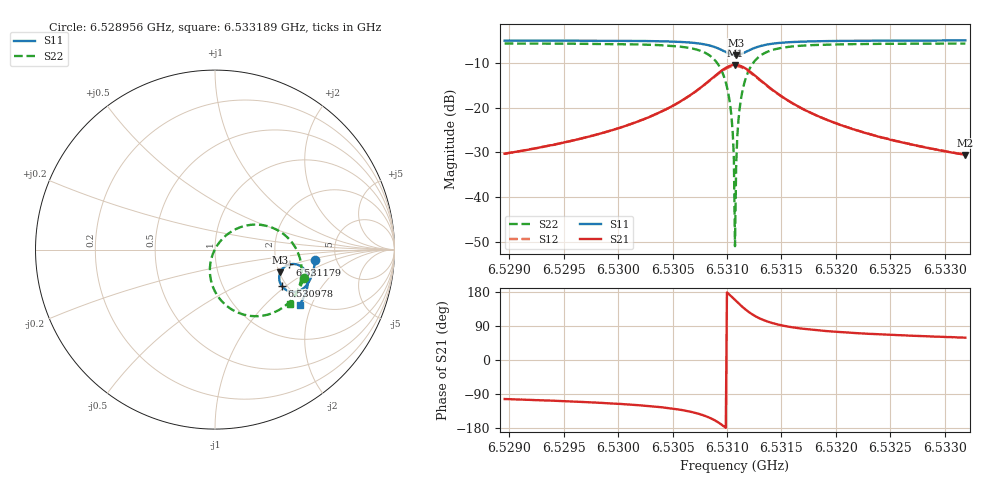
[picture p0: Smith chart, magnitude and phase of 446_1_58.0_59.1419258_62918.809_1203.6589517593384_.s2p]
#  HZ  S  RI  R  50.00
! Rohde & Schwarz Vector Network Analyzer
! Rohde-Schwarz,ZNB20-2Port,1311601062101988,3.16
! Created: UTC 3/21/2024, 1:10:15 AM
! freq[Hz]  re:S11  im:S11  re:S21  im:S21  re:S12  im:S12  re:S22  im:S22
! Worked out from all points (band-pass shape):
!   401 points, 6.528956 GHz to 6.533189 GHz, reference 50 ohm
!   highest |S21| = -10.45 dB at 6.531073 GHz (marker M1); lowest = -30.6 dB at 6.533189 GHz (marker M2)
!   |S21| within 3 dB of the highest: 6.530863 GHz to 6.531286 GHz (423 kHz wide, 0.00648 % of centre)
!   lowest |S11| = -8.3 dB at 6.531084 GHz (marker M3), VSWR 2.25, Z = 101 - j30.3 ohm
!   |S11| at or under -10 dB: nowhere
!   |S22| runs from -51.0 to -5.7 dB; largest |S21 - S12| = 0.011
!   S11 on the Smith chart (normalised r, x): 6.528956 GHz: 3.45, -0.58; 6.530978 GHz: 1.89, -0.93; 6.531179 GHz: 2.35, -0.47; 6.533189 GHz: 1.82, -1.65
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6.5289565e9  0.558 -0.0574  -0.00685 -0.0296  -0.00741 -0.0295  0.4948 -0.1602
6.5296655e9  0.5479 -0.1159  -0.016 -0.0421  -0.017 -0.0419  0.465 -0.2258
6.5303745e9  0.5198 -0.1854  -0.0488 -0.0726  -0.0508 -0.0712  0.3855 -0.3173
6.5307978e9  0.4503 -0.2344  -0.1541 -0.0981  -0.1565 -0.0921  0.183 -0.3672
6.5309036e9  0.4065 -0.2296  -0.2223 -0.0726  -0.2215 -0.0635  0.0667 -0.3147
6.5309777e9  0.3725 -0.2029  -0.2726 -0.0157  -0.2672 -0.00616  -0.0103 -0.2108
6.5310306e9  0.3584 -0.168  -0.2894 0.0505  -0.2805 0.0575  -0.0281 -0.0981
6.5310412e9  0.3577 -0.1599  -0.2893 0.0652  -0.2797 0.0715  -0.0253 -0.0737
6.5310518e9  0.3578 -0.1516  -0.2874 0.0803  -0.2775 0.0857  -0.02 -0.0492
6.5310623e9  0.3589 -0.1435  -0.2842 0.0952  -0.2739 0.0997  -0.0124 -0.0252
6.5310729e9  0.3609 -0.1353  -0.2795 0.1099  -0.2691 0.1132  -0.00203 -0.00195
6.5310835e9  0.3636 -0.1275  -0.2733 0.1238  -0.2627 0.1263  0.0102 0.0201
6.5310941e9  0.3671 -0.1199  -0.2658 0.137  -0.2554 0.1385  0.0248 0.0407
6.5311047e9  0.3716 -0.1128  -0.257 0.1495  -0.2467 0.1502  0.0411 0.0597
6.5311153e9  0.3767 -0.1065  -0.2472 0.1609  -0.2374 0.1608  0.0587 0.0768
6.5311364e9  0.3884 -0.0956  -0.2251 0.1797  -0.2164 0.1784  0.0978 0.1046
6.5311787e9  0.4147 -0.0828  -0.1775 0.2027  -0.171 0.1998  0.1806 0.1353
6.5312528e9  0.4568 -0.0832  -0.1035 0.2051  -0.1002 0.2022  0.3055 0.1269
6.5313586e9  0.4933 -0.1054  -0.0397 0.1751  -0.0382 0.1732  0.4098 0.0618
6.5317819e9  0.518 -0.1849  0.0153 0.0844  0.0162 0.0842  0.483 -0.1277
6.532491e9  0.4984 -0.2564  0.0174 0.0404  0.0181 0.0402  0.4552 -0.2445
6.5331894e9  0.4712 -0.3081  0.0153 0.0253  0.0157 0.0251  0.4204 -0.3058
